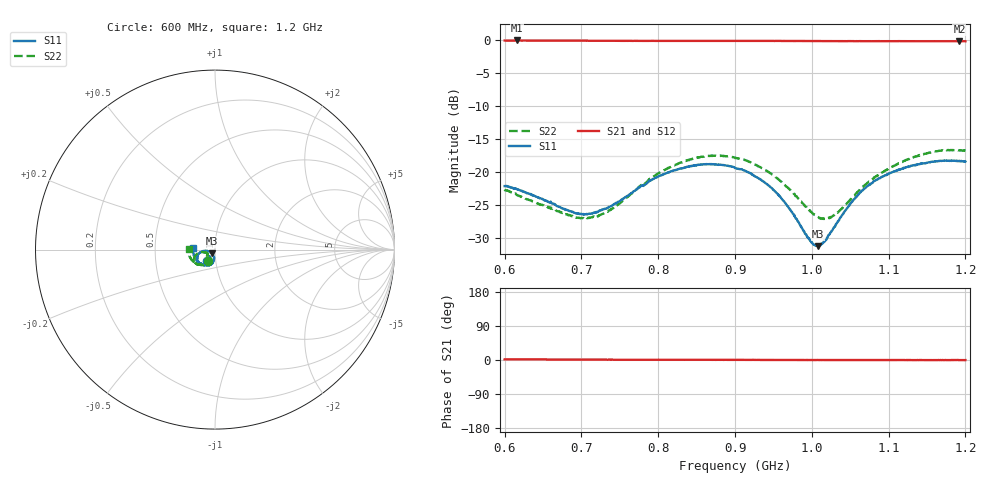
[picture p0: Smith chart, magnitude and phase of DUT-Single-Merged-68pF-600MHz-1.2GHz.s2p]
!Stimulus Real(S11) Imag(S11) Real(S21) Imag(S21) Real(S12) Imag(S12) Real(S22) Imag(S22)
# HZ S RI R 50
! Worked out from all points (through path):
!   1010 points, 600 MHz to 1.2 GHz, reference 50 ohm
!   highest |S21| = -0.02 dB at 616.1 MHz (marker M1); lowest = -0.2 dB at 1.192 GHz (marker M2)
!   lowest |S11| = -31.2 dB at 1.008 GHz (marker M3), VSWR 1.06, Z = 48.1 - j1.93 ohm
!   |S11| at or under -10 dB: start of sweep to end of sweep
!   |S22| runs from -27.2 to -16.6 dB; largest |S21 - S12| = 0.033
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6e8  -0.0432 -0.0653  0.9962 0.0298  0.9937 0.0469  -0.0416 -0.0608
6.160555e8  -0.0449 -0.059  0.9971 0.0294  0.9954 0.0508  -0.0427 -0.0516
7.004955e8  -0.0305 -0.0371  0.9936 0.019  0.9944 0.0389  -0.0367 -0.0259
7.201189e8  -0.0263 -0.0419  0.9928 0.016  0.9944 0.036  -0.0338 -0.0307
7.343904e8  -0.0247 -0.0476  0.9915 0.0142  0.994 0.0347  -0.0337 -0.0369
8.003964e8  -0.0468 -0.0801  0.9904 0.011  0.9929 0.0296  -0.0612 -0.0765
8.5332e8  -0.0849 -0.0758  0.9894 0.00976  0.9917 0.0303  -0.1018 -0.0804
9.002972e8  -0.0972 -0.0447  0.99 0.0058  0.9945 0.029  -0.1151 -0.0548
9.199206e8  -0.094 -0.0275  0.9907 0.00552  0.9948 0.0291  -0.1126 -0.0379
9.502477e8  -0.0724 -0.0104  0.989 0.00248  0.9955 0.0271  -0.0919 -0.0194
9.746282e8  -0.0487 -0.00677  0.9887 0.00271  0.9955 0.0273  -0.0689 -0.0136
1.000198e9  -0.0248 -0.0154  0.9879 -0.00134  0.9951 0.0265  -0.0453 -0.0192
1.007929e9  -0.0187 -0.02  0.9871 0.00147  0.9948 0.026  -0.0395 -0.0229
1.016254e9  -0.0136 -0.027  0.9868 -0.000606  0.9945 0.0236  -0.0338 -0.0286
1.027552e9  -0.00787 -0.0361  0.9859 -0.00131  0.995 0.0279  -0.0287 -0.0367
1.048365e9  -0.00594 -0.0553  0.9847 -0.000138  0.9945 0.0259  -0.0265 -0.0538
1.063231e9  -0.0102 -0.0694  0.9854 -0.000566  0.9948 0.0244  -0.0312 -0.0673
1.082854e9  -0.0223 -0.0834  0.9842 0.00116  0.9946 0.0282  -0.044 -0.0811
1.100099e9  -0.0405 -0.0879  0.9848 -0.00116  0.9942 0.024  -0.0627 -0.0862
1.143508e9  -0.0928 -0.0694  0.9838 -0.00284  0.993 0.0252  -0.1161 -0.0703
1.192269e9  -0.1211 -0.00519  0.9824 -0.00294  0.9931 0.0231  -0.146 -0.00907
1.2e9  -0.1202 0.00663  0.9829 -0.00242  0.9927 0.0243  -0.1454 0.0018
